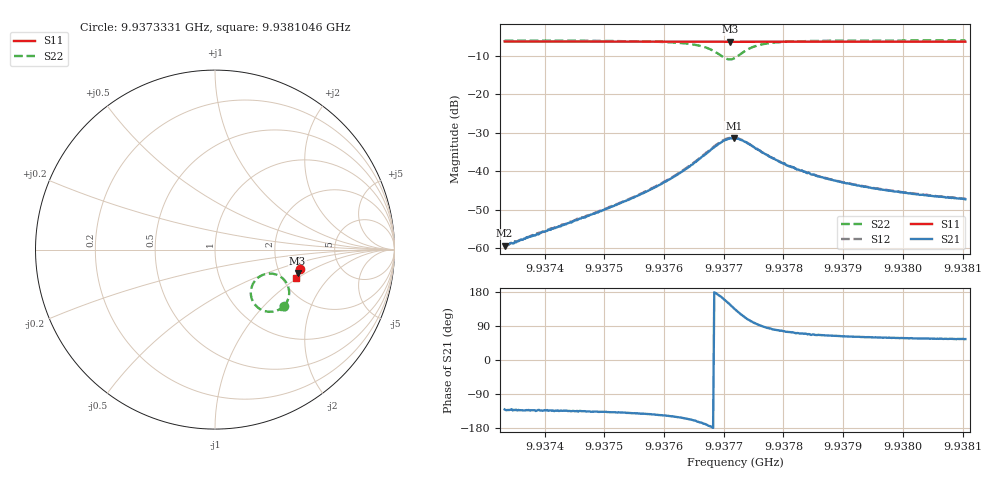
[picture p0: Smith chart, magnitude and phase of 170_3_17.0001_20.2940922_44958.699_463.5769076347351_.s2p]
#  HZ  S  RI  R  50.00
! Rohde & Schwarz Vector Network Analyzer
! Rohde-Schwarz,ZNB20-2Port,1311601062101988,3.16
! Created: UTC 3/20/2024, 10:59:43 PM
! freq[Hz]  re:S11  im:S11  re:S21  im:S21  re:S12  im:S12  re:S22  im:S22
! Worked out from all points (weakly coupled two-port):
!   401 points, 9.9373331 GHz to 9.9381046 GHz, reference 50 ohm
!   highest |S21| = -31.38 dB at 9.9377169 GHz (marker M1); lowest = -59.3 dB at 9.9373331 GHz (marker M2)
!   lowest |S11| = -6.4 dB at 9.9377111 GHz (marker M3), VSWR 2.84, Z = 125 - j42.8 ohm
!   |S11| at or under -10 dB: nowhere
!   |S22| runs from -11.0 to -6.0 dB; largest |S21 - S12| = 0.0013
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9.93733308e9  0.4709 -0.1086  -0.000707 -0.000828  -0.000724 -0.000788  0.3863 -0.313
9.93735044e9  0.4707 -0.1098  -0.000826 -0.000908  -0.000851 -0.000898  0.3846 -0.3144
9.93746231e9  0.4682 -0.1173  -0.00176 -0.00177  -0.00183 -0.00174  0.3709 -0.3256
9.93753946e9  0.4663 -0.1226  -0.00322 -0.00275  -0.00332 -0.00275  0.3542 -0.3357
9.93759154e9  0.4651 -0.1262  -0.00544 -0.00377  -0.00556 -0.00377  0.3327 -0.3435
9.9376359e9  0.4636 -0.1293  -0.00958 -0.00464  -0.00985 -0.00455  0.2961 -0.3464
9.93766869e9  0.4622 -0.1313  -0.0161 -0.00317  -0.0166 -0.00294  0.2433 -0.3264
9.9376822e9  0.4612 -0.1322  -0.02 -0.000313  -0.0205 0.000365  0.216 -0.2975
9.93769377e9  0.4605 -0.1323  -0.0228 0.00451  -0.0233 0.00551  0.2003 -0.2539
9.93770341e9  0.46 -0.1323  -0.0235 0.0104  -0.0236 0.0115  0.2048 -0.2073
9.93771113e9  0.46 -0.1322  -0.0219 0.0154  -0.0218 0.0163  0.2249 -0.1708
9.93771691e9  0.4602 -0.1321  -0.0196 0.0186  -0.0192 0.0195  0.2492 -0.15
9.93771884e9  0.4602 -0.132  -0.0186 0.0194  -0.0181 0.0203  0.258 -0.1448
9.93772849e9  0.4605 -0.1323  -0.013 0.022  -0.0124 0.0226  0.3054 -0.1332
9.93774199e9  0.4609 -0.1331  -0.00622 0.0219  -0.00544 0.0221  0.3591 -0.1473
9.93776321e9  0.4614 -0.1348  9.15e-05 0.0178  0.00047 0.0178  0.3999 -0.1885
9.93778828e9  0.4611 -0.1369  0.00264 0.0137  0.00301 0.0136  0.4123 -0.2261
9.9378095e9  0.4607 -0.1385  0.00321 0.0111  0.00356 0.0112  0.413 -0.2474
9.93784807e9  0.4599 -0.1413  0.00357 0.00836  0.0037 0.0084  0.4088 -0.2718
9.93790208e9  0.4586 -0.1449  0.00326 0.00631  0.00342 0.00629  0.4016 -0.2902
9.9379773e9  0.4567 -0.1501  0.0029 0.00482  0.00305 0.0048  0.3929 -0.3055
9.9381046e9  0.4536 -0.1582  0.00248 0.00356  0.00259 0.00359  0.3815 -0.3204
